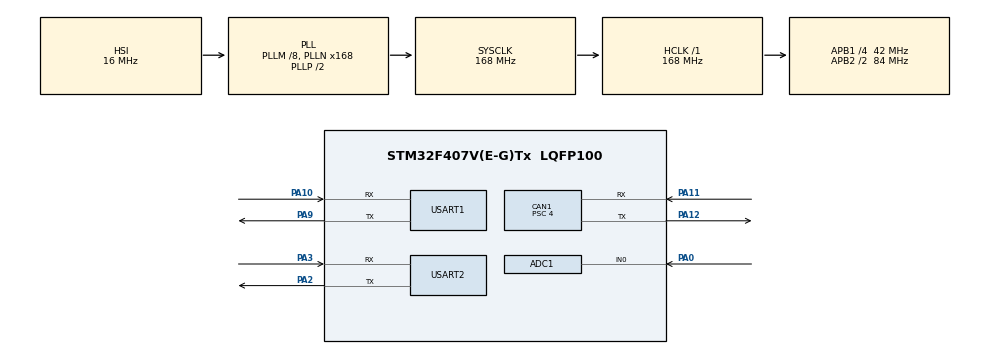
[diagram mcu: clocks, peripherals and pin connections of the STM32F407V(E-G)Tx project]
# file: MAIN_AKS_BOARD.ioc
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ADC1.Channel-0\#ChannelRegularConversion=ADC_CHANNEL_0
ADC1.NbrOfConversionFlag=1
ADC1.Rank-0\#ChannelRegularConversion=1
ADC1.SamplingTime-0\#ChannelRegularConversion=ADC_SAMPLETIME_3CYCLES
ADC1.master=1
CAN1.BS1=CAN_BS1_15TQ
CAN1.BS2=CAN_BS2_2TQ
CAN1.CalculateBaudRate=583333
CAN1.CalculateTimeBit=1714
CAN1.CalculateTimeQuantum=95.23809523809524
CAN1.Prescaler=4
FREERTOS.Tasks01=can_task,0,128,can_start,Default,NULL,Dynamic,NULL,NULL;rf_task,-3,128,rf_start,Default,NULL,Dynamic,NULL,NULL;gps_task,-3,128,gps_start,Default,NULL,Dynamic,NULL,NULL;calculate_speed,-3,128,speed_start,Default,NULL,Dynamic,NULL,NULL
Mcu.Family=STM32F4
Mcu.Name=STM32F407V(E-G)Tx
Mcu.Package=LQFP100
NVIC.CAN1_RX0_IRQn=true\:5\:0\:false\:false\:true\:true\:true\:true\:true
NVIC.PriorityGroup=NVIC_PRIORITYGROUP_4
NVIC.TIM1_UP_TIM10_IRQn=true\:15\:0\:false\:false\:true\:false\:false\:true\:true
NVIC.TimeBase=TIM1_UP_TIM10_IRQn
NVIC.TimeBaseIP=TIM1
PA0-WKUP.Signal=ADCx_IN0
PA10.Mode=Asynchronous
PA10.Signal=USART1_RX
PA11.Mode=CAN_Activate
PA11.Signal=CAN1_RX
PA12.Mode=CAN_Activate
PA12.Signal=CAN1_TX
PA13.Mode=Serial_Wire
PA13.Signal=SYS_JTMS-SWDIO
PA14.Mode=Serial_Wire
PA14.Signal=SYS_JTCK-SWCLK
PA2.Mode=Asynchronous
PA2.Signal=USART2_TX
PA3.Mode=Asynchronous
PA3.Signal=USART2_RX
PA9.Mode=Asynchronous
PA9.Signal=USART1_TX
PH0-OSC_IN.Mode=HSE-External-Oscillator
PH0-OSC_IN.Signal=RCC_OSC_IN
PH1-OSC_OUT.Mode=HSE-External-Oscillator
PH1-OSC_OUT.Signal=RCC_OSC_OUT
ProjectManager.HeapSize=0x200
ProjectManager.StackSize=0x400
ProjectManager.TargetToolchain=STM32CubeIDE
RCC.48MHZClocksFreq_Value=84000000
RCC.AHBFreq_Value=168000000
RCC.APB1CLKDivider=RCC_HCLK_DIV4
RCC.APB1Freq_Value=42000000
RCC.APB1TimFreq_Value=84000000
RCC.APB2CLKDivider=RCC_HCLK_DIV2
RCC.APB2Freq_Value=84000000
RCC.APB2TimFreq_Value=168000000
RCC.CortexFreq_Value=168000000
RCC.HCLKFreq_Value=168000000
RCC.HSE_VALUE=25000000
RCC.HSI_VALUE=16000000
RCC.LSE_VALUE=32768
RCC.PLLM=8
RCC.PLLN=168
RCC.SYSCLKFreq_VALUE=168000000
RCC.SYSCLKSource=RCC_SYSCLKSOURCE_PLLCLK
RCC.VCOOutputFreq_Value=336000000
SH.ADCx_IN0.0=ADC1_IN0,IN0
USART1.VirtualMode=VM_ASYNC
USART2.VirtualMode=VM_ASYNC
VP_FREERTOS_VS_CMSIS_V1.Mode=CMSIS_V1
VP_SYS_VS_tim1.Mode=TIM1
board=custom

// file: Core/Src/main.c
/* USER CODE BEGIN Header */
/**
  ******************************************************************************
  * @file           : main.c
  * @brief          : Main program body
  ******************************************************************************
  * @attention
  *
  * Copyright (c) 2022 STMicroelectronics.
  * All rights reserved.
  *
  * This software is licensed under terms that can be found in the LICENSE file
  * in the root directory of this software component.
  * If no LICENSE file comes with this software, it is provided AS-IS.
  *
  ******************************************************************************
  */
/* USER CODE END Header */
#include "main.h"
#include "cmsis_os.h"
#include "time.h"

 ADC_HandleTypeDef hadc1;

CAN_HandleTypeDef hcan1;

UART_HandleTypeDef huart1;
UART_HandleTypeDef huart2;

osThreadId can_taskHandle;
osThreadId rf_taskHandle;
osThreadId gps_taskHandle;
osThreadId calculate_speedHandle;
/* USER CODE BEGIN PV */
CAN_TxHeaderTypeDef pTxHeader;
CAN_RxHeaderTypeDef pRxHeader;
CAN_FilterTypeDef sFilterConfig;
uint32_t pTxMailbox;
uint8_t can_array[8];
time_t start,stop;
uint8_t adc_value;
struct VARIABLES{
	char* char_speed;
	float speed;
	char* char_left_motor_voltage;
	float left_motor_voltage;
	char* char_left_motor_temparature;
	float left_motor_temparature;
	char* char_right_motor_voltage;
	float right_motor_voltage;
	char* char_right_motor_temparature;
	float right_motor_temparature;
	char* char_battery_voltage[4];
	float* battery_voltage[4];
	char* char_battery_temparature;
	float battery_temparature;
	int ADC_FLAG;
	int VAR_FLAG;
	float wheel_radius; // 0.5 meter
	int ADC_AVAILABLE;
	int ADC_CALCULATING;
	int CAN_FLAG;
}*ecar;

/* USER CODE END PV */

void SystemClock_Config(void);
static void MX_GPIO_Init(void);
static void MX_CAN1_Init(void);
static void MX_ADC1_Init(void);
static void MX_USART1_UART_Init(void);
static void MX_USART2_UART_Init(void);
void can_start(void const * argument);
void rf_start(void const * argument);
void gps_start(void const * argument);
void speed_start(void const * argument);

int main(void)
{

  /* MCU Configuration--------------------------------------------------------*/

  /* Reset of all peripherals, Initializes the Flash interface and the Systick. */
  HAL_Init();

  /* USER CODE BEGIN Init */
  ecar->wheel_radius = 0.2932;
  /* USER CODE END Init */

  /* Configure the system clock */
  SystemClock_Config();

  /* Initialize all configured peripherals */
  MX_GPIO_Init();
  MX_CAN1_Init();
  MX_ADC1_Init();
  MX_USART1_UART_Init();
  MX_USART2_UART_Init();
  /* USER CODE BEGIN 2 */

  HAL_CAN_Start(&hcan1);

      HAL_CAN_ActivateNotification(&hcan1, CAN_IT_RX_FIFO0_MSG_PENDING);  // enable interrupt

      pTxHeader.DLC = 1;
      pTxHeader.IDE = CAN_ID_STD;
      pTxHeader.RTR = CAN_RTR_DATA;
      pTxHeader.StdId = 0x012;

      //set filter parameters
      sFilterConfig.FilterActivation = ENABLE;
      sFilterConfig.FilterBank = 0;
      sFilterConfig.FilterFIFOAssignment = CAN_FILTER_FIFO0;
      sFilterConfig.FilterIdHigh = 0x0000;
      sFilterConfig.FilterIdLow = 0x0000;
      sFilterConfig.FilterMaskIdHigh = 0x0000 << 5;
      sFilterConfig.FilterMaskIdLow = 0x0000 << 5;
      sFilterConfig.FilterMode = CAN_FILTERMODE_IDMASK;
      sFilterConfig.FilterScale = CAN_FILTERSCALE_32BIT;

      HAL_CAN_ConfigFilter(&hcan1, &sFilterConfig);

  /* USER CODE END 2 */

  /* Create the thread(s) */
  /* definition and creation of can_task */
  osThreadDef(can_task, can_start, osPriorityNormal, 0, 128);
  can_taskHandle = osThreadCreate(osThread(can_task), NULL);

  /* definition and creation of rf_task */
  osThreadDef(rf_task, rf_start, osPriorityIdle, 0, 128);
  rf_taskHandle = osThreadCreate(osThread(rf_task), NULL);

  /* definition and creation of gps_task */
  osThreadDef(gps_task, gps_start, osPriorityIdle, 0, 128);
  gps_taskHandle = osThreadCreate(osThread(gps_task), NULL);

  /* definition and creation of calculate_speed */
  osThreadDef(calculate_speed, speed_start, osPriorityIdle, 0, 128);
  calculate_speedHandle = osThreadCreate(osThread(calculate_speed), NULL);

  /* Start scheduler */
  osKernelStart();

  /* We should never get here as control is now taken by the scheduler */
  /* Infinite loop */
  while (1)
  {

  }
}

void SystemClock_Config(void)
{
  RCC_OscInitTypeDef RCC_OscInitStruct = {0};
  RCC_ClkInitTypeDef RCC_ClkInitStruct = {0};

  /** Configure the main internal regulator output voltage
  */
  __HAL_RCC_PWR_CLK_ENABLE();
  __HAL_PWR_VOLTAGESCALING_CONFIG(PWR_REGULATOR_VOLTAGE_SCALE1);

  /** Initializes the RCC Oscillators according to the specified parameters
  * in the RCC_OscInitTypeDef structure.
  */
  RCC_OscInitStruct.OscillatorType = RCC_OSCILLATORTYPE_HSI;
  RCC_OscInitStruct.HSIState = RCC_HSI_ON;
  RCC_OscInitStruct.HSICalibrationValue = RCC_HSICALIBRATION_DEFAULT;
  RCC_OscInitStruct.PLL.PLLState = RCC_PLL_ON;
  RCC_OscInitStruct.PLL.PLLSource = RCC_PLLSOURCE_HSI;
  RCC_OscInitStruct.PLL.PLLM = 8;
  RCC_OscInitStruct.PLL.PLLN = 168;
  RCC_OscInitStruct.PLL.PLLP = RCC_PLLP_DIV2;
  RCC_OscInitStruct.PLL.PLLQ = 4;
  if (HAL_RCC_OscConfig(&RCC_OscInitStruct) != HAL_OK)
  {
    Error_Handler();
  }

  /** Initializes the CPU, AHB and APB buses clocks
  */
  RCC_ClkInitStruct.ClockType = RCC_CLOCKTYPE_HCLK|RCC_CLOCKTYPE_SYSCLK
                              |RCC_CLOCKTYPE_PCLK1|RCC_CLOCKTYPE_PCLK2;
  RCC_ClkInitStruct.SYSCLKSource = RCC_SYSCLKSOURCE_PLLCLK;
  RCC_ClkInitStruct.AHBCLKDivider = RCC_SYSCLK_DIV1;
  RCC_ClkInitStruct.APB1CLKDivider = RCC_HCLK_DIV4;
  RCC_ClkInitStruct.APB2CLKDivider = RCC_HCLK_DIV2;

  if (HAL_RCC_ClockConfig(&RCC_ClkInitStruct, FLASH_LATENCY_5) != HAL_OK)
  {
    Error_Handler();
  }
}

static void MX_ADC1_Init(void)
{

  ADC_ChannelConfTypeDef sConfig = {0};

  /** Configure the global features of the ADC (Clock, Resolution, Data Alignment and number of conversion)
  */
  hadc1.Instance = ADC1;
  hadc1.Init.ClockPrescaler = ADC_CLOCK_SYNC_PCLK_DIV4;
  hadc1.Init.Resolution = ADC_RESOLUTION_12B;
  hadc1.Init.ScanConvMode = DISABLE;
  hadc1.Init.ContinuousConvMode = DISABLE;
  hadc1.Init.DiscontinuousConvMode = DISABLE;
  hadc1.Init.ExternalTrigConvEdge = ADC_EXTERNALTRIGCONVEDGE_NONE;
  hadc1.Init.ExternalTrigConv = ADC_SOFTWARE_START;
  hadc1.Init.DataAlign = ADC_DATAALIGN_RIGHT;
  hadc1.Init.NbrOfConversion = 1;
  hadc1.Init.DMAContinuousRequests = DISABLE;
  hadc1.Init.EOCSelection = ADC_EOC_SINGLE_CONV;
  if (HAL_ADC_Init(&hadc1) != HAL_OK)
  {
    Error_Handler();
  }

  /** Configure for the selected ADC regular channel its corresponding rank in the sequencer and its sample time.
  */
  sConfig.Channel = ADC_CHANNEL_0;
  sConfig.Rank = 1;
  sConfig.SamplingTime = ADC_SAMPLETIME_3CYCLES;
  if (HAL_ADC_ConfigChannel(&hadc1, &sConfig) != HAL_OK)
  {
    Error_Handler();
  }

}

static void MX_CAN1_Init(void)
{

  hcan1.Instance = CAN1;
  hcan1.Init.Prescaler = 4;
  hcan1.Init.Mode = CAN_MODE_NORMAL;
  hcan1.Init.SyncJumpWidth = CAN_SJW_1TQ;
  hcan1.Init.TimeSeg1 = CAN_BS1_15TQ;
  hcan1.Init.TimeSeg2 = CAN_BS2_2TQ;
  hcan1.Init.TimeTriggeredMode = DISABLE;
  hcan1.Init.AutoBusOff = DISABLE;
  hcan1.Init.AutoWakeUp = DISABLE;
  hcan1.Init.AutoRetransmission = DISABLE;
  hcan1.Init.ReceiveFifoLocked = DISABLE;
  hcan1.Init.TransmitFifoPriority = DISABLE;
  if (HAL_CAN_Init(&hcan1) != HAL_OK)
  {
    Error_Handler();
  }

}

static void MX_USART1_UART_Init(void)
{

  huart1.Instance = USART1;
  huart1.Init.BaudRate = 115200;
  huart1.Init.WordLength = UART_WORDLENGTH_8B;
  huart1.Init.StopBits = UART_STOPBITS_1;
  huart1.Init.Parity = UART_PARITY_NONE;
  huart1.Init.Mode = UART_MODE_TX_RX;
  huart1.Init.HwFlowCtl = UART_HWCONTROL_NONE;
  huart1.Init.OverSampling = UART_OVERSAMPLING_16;
  if (HAL_UART_Init(&huart1) != HAL_OK)
  {
    Error_Handler();
  }

}

static void MX_USART2_UART_Init(void)
{

  huart2.Instance = USART2;
  huart2.Init.BaudRate = 115200;
  huart2.Init.WordLength = UART_WORDLENGTH_8B;
  huart2.Init.StopBits = UART_STOPBITS_1;
  huart2.Init.Parity = UART_PARITY_NONE;
  huart2.Init.Mode = UART_MODE_TX_RX;
  huart2.Init.HwFlowCtl = UART_HWCONTROL_NONE;
  huart2.Init.OverSampling = UART_OVERSAMPLING_16;
  if (HAL_UART_Init(&huart2) != HAL_OK)
  {
    Error_Handler();
  }

}

static void MX_GPIO_Init(void)
{

  /* GPIO Ports Clock Enable */
  __HAL_RCC_GPIOH_CLK_ENABLE();
  __HAL_RCC_GPIOA_CLK_ENABLE();

}

void can_start(void const * argument)
{
  /* USER CODE BEGIN 5 */
  /* Infinite loop */
  for(;;)
  {
	HAL_CAN_GetRxMessage(&hcan1, CAN_RX_FIFO0, &pRxHeader, can_array );

    osDelay(1);
  }
  /* USER CODE END 5 */
}

void rf_start(void const * argument)
{
  /* USER CODE BEGIN rf_start */
  /* Infinite loop */
  for(;;)
  {
	if(ecar->CAN_FLAG && ecar->VAR_FLAG){
		char *dizi;
		dizi = (char*)malloc(256);
		sprintf(dizi,"%.2f!%.2f!%.2f!%.2f!%.2f!%.2f!%.2f!%.2f!%.2f!%.2f!%.2f!%.2f!%.2f!%.2f!%.2f!%.2f!%.2f!%.2f!%.2f!%.2f!%.2f!%.2f!%.2f!%.2f!%.2f!%.2f!%.2f!%.2f!%.2f!%.2f",ecar->left_motor_voltage,ecar->left_motor_temparature,ecar->right_motor_voltage,ecar->left_motor_temparature,ecar->speed,ecar->battery_voltage[0],ecar->battery_voltage[1],ecar->battery_voltage[2],ecar->battery_voltage[3],ecar->battery_voltage[4],ecar->battery_voltage[5],ecar->battery_voltage[6],ecar->battery_voltage[7],ecar->battery_voltage[8],ecar->battery_voltage[9],ecar->battery_voltage[10],ecar->battery_voltage[11],ecar->battery_voltage[12],ecar->battery_voltage[13],ecar->battery_voltage[14],ecar->battery_voltage[16],ecar->battery_voltage[17],ecar->battery_voltage[18],ecar->battery_voltage[19],ecar->battery_voltage[20],ecar->battery_voltage[21],ecar->battery_voltage[22],ecar->battery_voltage[23],ecar->battery_temparature);
		HAL_UART_Transmit(&huart1, dizi, strlen(dizi), HAL_MAX_DELAY);
		free(dizi);
	}
    osDelay(1);
  }
  /* USER CODE END rf_start */
}

void gps_start(void const * argument)
{
  /* USER CODE BEGIN gps_start */
  /* Infinite loop */
  for(;;)
  {
	//just split for can variables
	//
  //V

	/*bms receiving*/
	  int truther = 1;
	switch(pRxHeader.StdId){
	case 0x101:
		ecar->battery_voltage[0] = &can_array;
		truther = truther<<1;
		break;
	case 0x102:
		ecar->battery_voltage[1] = &can_array;
		truther = truther<<1;
		break;
	case 0x103:
		ecar->battery_voltage[2] = &can_array;
		truther = truther<<1;
		break;
	case 0x104:
		ecar->battery_voltage[3] = &can_array;
		ecar->battery_temparature =
		truther = truther<<1;
		break;
	}
	if(truther==16) ecar->VAR_FLAG=1;
	else ecar->VAR_FLAG=0;
    osDelay(1);
  }
  /* USER CODE END gps_start */
}

void speed_start(void const * argument)
{
  /* USER CODE BEGIN speed_start */
  /* Infinite loop */
  for(;;)
  {
	  if(ecar->ADC_FLAG == ecar->ADC_AVAILABLE){
		  HAL_ADC_Start(&hadc1);
		  HAL_ADC_PollForConversion(&hadc1, 1);
		  adc_value = HAL_ADC_GetValue(&hadc1);
		  if(adc_value>1024){
			  ecar->ADC_FLAG=2;
			  time(&start);
		  }
	  }
	  if(ecar->ADC_CALCULATING == ecar->ADC_FLAG){
		  HAL_ADC_Start(&hadc1);
		  HAL_ADC_PollForConversion(&hadc1, 1);
		  int tempvalue = HAL_ADC_GetValue(&hadc1);
		  if(tempvalue==adc_value){
			  time(&stop);
			  ecar->speed = (2*3.14*ecar->wheel_radius)/difftime(stop, start);
			  ecar->ADC_FLAG=1;
		  }
		  continue;
	  }
	  HAL_ADC_Stop(&hadc1);
    osDelay(1);
  }
  /* USER CODE END speed_start */
}

void HAL_TIM_PeriodElapsedCallback(TIM_HandleTypeDef *htim)
{
  if (htim->Instance == TIM1) {
    HAL_IncTick();
  }
}

void Error_Handler(void)
{
  __disable_irq();
  while (1)
  {
  }
}
